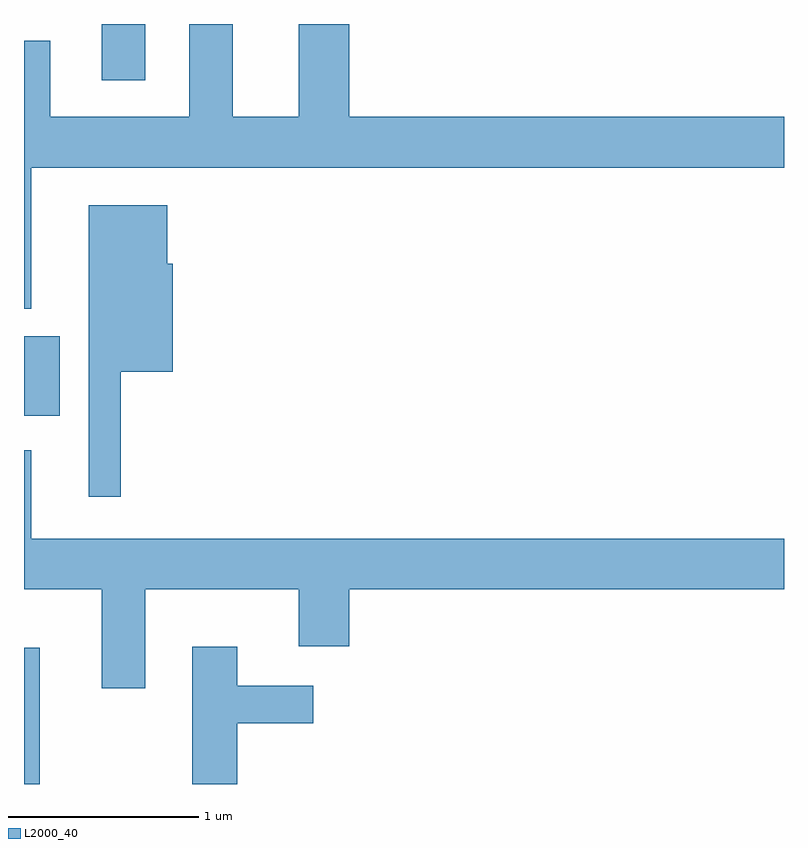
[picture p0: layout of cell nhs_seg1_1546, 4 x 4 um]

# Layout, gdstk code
import gdstk
lib = gdstk.Library(unit=1e-6, precision=1e-09)
def R(c, l, rs):  # rectangles x0, y0, x1, y1
    for r in rs: c.add(gdstk.rectangle(r[:2], r[2:], *l))
def P(c, l, *ps):  # polygons
    for p in ps: c.add(gdstk.Polygon(p, *l))
L2000_40 = (2000, 40)

nhs_seg1_1546 = lib.new_cell('nhs_seg1_1546')
R(nhs_seg1_1546, L2000_40, [(233.611,849.712,233.694,850.428), (233.611,851.651,233.799,852.069), (234.021,853.416,234.249,853.712)])
P(nhs_seg1_1546, L2000_40, [(233.649,852.956),(237.611,852.956),(237.611,853.224),(235.324,853.224),(235.324,853.712),(235.056,853.712),(235.056,853.224),(234.709,853.224),(234.709,853.712),(234.481,853.712),(234.481,853.224),(233.749,853.224),(233.749,853.624),(233.611,853.624),(233.611,852.213),(233.649,852.213)],
  [(234.119,851.881),(234.394,851.881),(234.394,852.449),(234.364,852.449),(234.364,852.759),(233.951,852.759),(233.951,851.223),(234.119,851.223)],
  [(234.249,850.736),(235.056,850.736),(235.056,850.436),(235.324,850.436),(235.324,850.736),(237.611,850.736),(237.611,851.004),(233.649,851.004),(233.649,851.468),(233.611,851.468),(233.611,850.736),(234.021,850.736),(234.021,850.216),(234.249,850.216)],
  [(234.734,850.031),(235.134,850.031),(235.134,850.229),(234.734,850.229),(234.734,850.434),(234.496,850.434),(234.496,849.712),(234.734,849.712)])

lib.write_gds('nhs_seg1_1546.gds')
